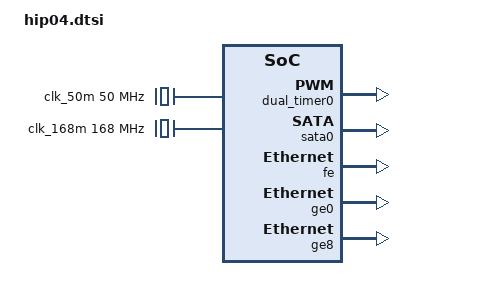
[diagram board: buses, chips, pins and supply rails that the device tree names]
/*
 * Hisilicon Ltd. HiP04 SoC
 *
 * Copyright (C) 2013-2014 Hisilicon Ltd.
 * Copyright (C) 2013-2014 Linaro Ltd.
 *
 * Author: Haojian Zhuang <haojian.zhuang@linaro.org>
 *
 * This program is free software; you can redistribute it and/or modify
 * it under the terms of the GNU General Public License version 2 as
 * published by the Free Software Foundation.
 */

/ {
	/* memory bus is 64-bit */
	#address-cells = <2>;
	#size-cells = <2>;

	aliases {
		serial0 = &uart0;
	};

	bootwrapper {
		compatible = "hisilicon,hip04-bootwrapper";
		boot-method = <0xe00f0000 0x10000>, <0xe0000100 0x1000>;
	};

	cpus {
		#address-cells = <1>;
		#size-cells = <0>;

		cpu-map {
			cluster0 {
				core0 {
					cpu = <&CPU0>;
				};
				core1 {
					cpu = <&CPU1>;
				};
				core2 {
					cpu = <&CPU2>;
				};
				core3 {
					cpu = <&CPU3>;
				};
			};
			cluster1 {
				core0 {
					cpu = <&CPU4>;
				};
				core1 {
					cpu = <&CPU5>;
				};
				core2 {
					cpu = <&CPU6>;
				};
				core3 {
					cpu = <&CPU7>;
				};
			};
			cluster2 {
				core0 {
					cpu = <&CPU8>;
				};
				core1 {
					cpu = <&CPU9>;
				};
				core2 {
					cpu = <&CPU10>;
				};
				core3 {
					cpu = <&CPU11>;
				};
			};
			cluster3 {
				core0 {
					cpu = <&CPU12>;
				};
				core1 {
					cpu = <&CPU13>;
				};
				core2 {
					cpu = <&CPU14>;
				};
				core3 {
					cpu = <&CPU15>;
				};
			};
		};
		CPU0: cpu@0 {
			device_type = "cpu";
			compatible = "arm,cortex-a15";
			reg = <0>;
		};
		CPU1: cpu@1 {
			device_type = "cpu";
			compatible = "arm,cortex-a15";
			reg = <1>;
		};
		CPU2: cpu@2 {
			device_type = "cpu";
			compatible = "arm,cortex-a15";
			reg = <2>;
		};
		CPU3: cpu@3 {
			device_type = "cpu";
			compatible = "arm,cortex-a15";
			reg = <3>;
		};
		CPU4: cpu@100 {
			device_type = "cpu";
			compatible = "arm,cortex-a15";
			reg = <0x100>;
		};
		CPU5: cpu@101 {
			device_type = "cpu";
			compatible = "arm,cortex-a15";
			reg = <0x101>;
		};
		CPU6: cpu@102 {
			device_type = "cpu";
			compatible = "arm,cortex-a15";
			reg = <0x102>;
		};
		CPU7: cpu@103 {
			device_type = "cpu";
			compatible = "arm,cortex-a15";
			reg = <0x103>;
		};
		CPU8: cpu@200 {
			device_type = "cpu";
			compatible = "arm,cortex-a15";
			reg = <0x200>;
		};
		CPU9: cpu@201 {
			device_type = "cpu";
			compatible = "arm,cortex-a15";
			reg = <0x201>;
		};
		CPU10: cpu@202 {
			device_type = "cpu";
			compatible = "arm,cortex-a15";
			reg = <0x202>;
		};
		CPU11: cpu@203 {
			device_type = "cpu";
			compatible = "arm,cortex-a15";
			reg = <0x203>;
		};
		CPU12: cpu@300 {
			device_type = "cpu";
			compatible = "arm,cortex-a15";
			reg = <0x300>;
		};
		CPU13: cpu@301 {
			device_type = "cpu";
			compatible = "arm,cortex-a15";
			reg = <0x301>;
		};
		CPU14: cpu@302 {
			device_type = "cpu";
			compatible = "arm,cortex-a15";
			reg = <0x302>;
		};
		CPU15: cpu@303 {
			device_type = "cpu";
			compatible = "arm,cortex-a15";
			reg = <0x303>;
		};
	};

	timer {
		compatible = "arm,armv7-timer";
		interrupt-parent = <&gic>;
		interrupts = <1 13 0xf08>,
			     <1 14 0xf08>,
			     <1 11 0xf08>,
			     <1 10 0xf08>;
	};

	clk_50m: clk_50m {
		#clock-cells = <0>;
		compatible = "fixed-clock";
		clock-frequency = <50000000>;
	};

	clk_168m: clk_168m {
		#clock-cells = <0>;
		compatible = "fixed-clock";
		clock-frequency = <168000000>;
	};

	soc {
		/* It's a 32-bit SoC. */
		#address-cells = <1>;
		#size-cells = <1>;
		compatible = "simple-bus";
		interrupt-parent = <&gic>;
		ranges = <0 0 0xe0000000 0x10000000>;

		gic: interrupt-controller@c01000 {
			compatible = "hisilicon,hip04-intc";
			#interrupt-cells = <3>;
			#address-cells = <0>;
			interrupt-controller;
			interrupts = <1 9 0xf04>;

			reg = <0xc01000 0x1000>, <0xc02000 0x1000>,
			      <0xc04000 0x2000>, <0xc06000 0x2000>;
		};

		sysctrl: sysctrl {
			compatible = "hisilicon,sysctrl";
			reg = <0x3e00000 0x00100000>;
		};

		fabric: fabric {
			compatible = "hisilicon,hip04-fabric";
			reg = <0x302a000 0x1000>;
		};

		dual_timer0: dual_timer@3000000 {
			compatible = "arm,sp804", "arm,primecell";
			reg = <0x3000000 0x1000>;
			interrupts = <0 224 4>;
			clocks = <&clk_50m>, <&clk_50m>;
			clock-names = "apb_pclk";
		};

		arm-pmu {
			compatible = "arm,cortex-a15-pmu";
			interrupts = <0 64 4>,
				     <0 65 4>,
				     <0 66 4>,
				     <0 67 4>,
				     <0 68 4>,
				     <0 69 4>,
				     <0 70 4>,
				     <0 71 4>,
				     <0 72 4>,
				     <0 73 4>,
				     <0 74 4>,
				     <0 75 4>,
				     <0 76 4>,
				     <0 77 4>,
				     <0 78 4>,
				     <0 79 4>;
		};

		uart0: uart@4007000 {
			compatible = "snps,dw-apb-uart";
			reg = <0x4007000 0x1000>;
			interrupts = <0 381 4>;
			clocks = <&clk_168m>;
			clock-names = "uartclk";
			reg-shift = <2>;
			status = "disabled";
		};

		sata0: sata@a000000 {
			compatible = "hisilicon,hisi-ahci";
			reg = <0xa000000 0x1000000>;
			interrupts = <0 372 4>;
		};

		ppebase: ppebase@28c0000 {
			compatible = "hisilicon,ppebase";
			reg = <0x28c0000 0x10000>;
		};

		fe: ethernet@28b0000 {
			compatible = "hisilicon,hip04-mac";
			reg = <0x28b0000 0x10000>;
			interrupts = <0 413 4>;
			port = <31>;
			speed = <100>;
			id = <0>;
		};

		ge0: ethernet@2800000 {
			compatible = "hisilicon,hip04-mac";
			reg = <0x2800000 0x10000>;
			interrupts = <0 412 4>;
			port = <0>;
			speed = <1000>;
			id = <1>;
		};
		ge8: ethernet@2880000 {
			compatible = "hisilicon,hip04-mac";
			reg = <0x2880000 0x10000>;
			interrupts = <0 420 4>;
			port = <8>;
			speed = <1000>;
			id = <2>;
		};

		gpio@4003000 {
			#address-cells = <1>;
			#size-cells = <0>;
			compatible = "snps,dw-apb-gpio";
			reg = <0x4003000 0x1000>;

			gpio3: gpio-controller@0 {
				compatible = "snps,dw-apb-gpio-port";
				gpio-controller;
				#gpio-cells = <2>;
				snps,nr-gpios = <32>;
				reg = <0>;
				interrupt-parent = <&gic>;
				interrupt-controller;
				#interrupt-cells = <2>;
				interrupts = <0 392 4>;
			};
		};

		gpio@4002000 {
			#address-cells = <1>;
			#size-cells = <0>;
			compatible = "snps,dw-apb-gpio";
			reg = <0x4002000 0x1000>;

			gpio2: gpio-controller@0 {
			compatible = "snps,dw-apb-gpio-port";
				gpio-controller;
				#gpio-cells = <2>;
				snps,nr-gpios = <32>;
				reg = <0>;
				interrupt-parent = <&gic>;
				interrupt-controller;
				#interrupt-cells = <2>;
				interrupts = <0 391 4>;
			};
		};

		gpio@4001000 {
			#address-cells = <1>;
			#size-cells = <0>;
			compatible = "snps,dw-apb-gpio";
			reg = <0x4001000 0x1000>;

			gpio1: gpio-controller@0 {
				compatible = "snps,dw-apb-gpio-port";
				gpio-controller;
				#gpio-cells = <2>;
				snps,nr-gpios = <32>;
				reg = <0>;
				interrupt-parent = <&gic>;
				interrupt-controller;
				#interrupt-cells = <2>;
				interrupts = <0 390 4>;
			};
		};

		gpio@4000000 {
			#address-cells = <1>;
			#size-cells = <0>;
			compatible = "snps,dw-apb-gpio";
			reg = <0x4000000 0x1000>;

			gpio0: gpio-controller@0 {
				compatible = "snps,dw-apb-gpio-port";
				gpio-controller;
				#gpio-cells = <2>;
				snps,nr-gpios = <32>;
				reg = <0>;
				interrupt-parent = <&gic>;
				interrupt-controller;
				#interrupt-cells = <2>;
				interrupts = <0 389 4>;
			};
		};
	};
};
